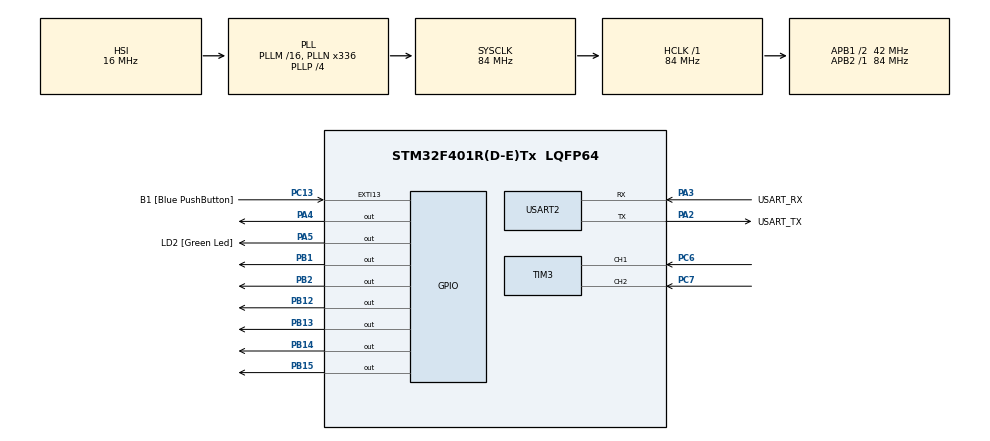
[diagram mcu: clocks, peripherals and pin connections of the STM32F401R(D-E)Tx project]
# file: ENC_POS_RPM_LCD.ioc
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Dma.Request0=USART2_TX
Dma.USART2_TX.0.Direction=DMA_MEMORY_TO_PERIPH
Dma.USART2_TX.0.FIFOMode=DMA_FIFOMODE_DISABLE
Dma.USART2_TX.0.Instance=DMA1_Stream6
Dma.USART2_TX.0.MemDataAlignment=DMA_MDATAALIGN_BYTE
Dma.USART2_TX.0.MemInc=DMA_MINC_ENABLE
Dma.USART2_TX.0.Mode=DMA_NORMAL
Dma.USART2_TX.0.PeriphDataAlignment=DMA_PDATAALIGN_BYTE
Dma.USART2_TX.0.PeriphInc=DMA_PINC_DISABLE
Dma.USART2_TX.0.Priority=DMA_PRIORITY_HIGH
Mcu.Family=STM32F4
Mcu.Name=STM32F401R(D-E)Tx
Mcu.Package=LQFP64
NVIC.DMA1_Stream6_IRQn=true\:0\:0\:false\:false\:true\:false\:true\:true
NVIC.PriorityGroup=NVIC_PRIORITYGROUP_4
NVIC.TIM2_IRQn=true\:0\:0\:false\:false\:true\:true\:true\:true
PA13.GPIO_Label=TMS
PA13.Mode=Trace_Asynchronous_SW
PA13.Signal=SYS_JTMS-SWDIO
PA14.GPIO_Label=TCK
PA14.Mode=Trace_Asynchronous_SW
PA14.Signal=SYS_JTCK-SWCLK
PA2.GPIO_Label=USART_TX
PA2.GPIO_Mode=GPIO_MODE_AF_PP
PA2.GPIO_PuPd=GPIO_NOPULL
PA2.GPIO_Speed=GPIO_SPEED_FREQ_LOW
PA2.Mode=Asynchronous
PA2.Signal=USART2_TX
PA3.GPIO_Label=USART_RX
PA3.GPIO_Mode=GPIO_MODE_AF_PP
PA3.GPIO_PuPd=GPIO_NOPULL
PA3.GPIO_Speed=GPIO_SPEED_FREQ_LOW
PA3.Mode=Asynchronous
PA3.Signal=USART2_RX
PA4.Signal=GPIO_Output
PA5.GPIO_Label=LD2 [Green Led]
PA5.GPIO_Mode=GPIO_MODE_OUTPUT_PP
PA5.GPIO_PuPd=GPIO_NOPULL
PA5.GPIO_Speed=GPIO_SPEED_FREQ_LOW
PA5.Signal=GPIO_Output
PB1.Signal=GPIO_Output
PB12.Signal=GPIO_Output
PB13.Signal=GPIO_Output
PB14.Signal=GPIO_Output
PB15.Signal=GPIO_Output
PB2.Signal=GPIO_Output
PB3.GPIO_Label=SWO
PB3.Mode=Trace_Asynchronous_SW
PB3.Signal=SYS_JTDO-SWO
PC13-ANTI_TAMP.GPIO_Label=B1 [Blue PushButton]
PC13-ANTI_TAMP.GPIO_ModeDefaultEXTI=GPIO_MODE_IT_FALLING
PC13-ANTI_TAMP.GPIO_PuPd=GPIO_NOPULL
PC13-ANTI_TAMP.Signal=GPXTI13
PC14-OSC32_IN.Mode=LSE-External-Oscillator
PC14-OSC32_IN.Signal=RCC_OSC32_IN
PC15-OSC32_OUT.Mode=LSE-External-Oscillator
PC15-OSC32_OUT.Signal=RCC_OSC32_OUT
PC6.Signal=S_TIM3_CH1
PC7.Signal=S_TIM3_CH2
PH0\ -\ OSC_IN.Mode=HSE-External-Clock-Source
PH0\ -\ OSC_IN.Signal=RCC_OSC_IN
PH1\ -\ OSC_OUT.Mode=HSE-External-Clock-Source
PH1\ -\ OSC_OUT.Signal=RCC_OSC_OUT
ProjectManager.HeapSize=0x200
ProjectManager.StackSize=0x400
ProjectManager.TargetToolchain=STM32CubeIDE
RCC.48MHZClocksFreq_Value=48000000
RCC.AHBFreq_Value=84000000
RCC.APB1CLKDivider=RCC_HCLK_DIV2
RCC.APB1Freq_Value=42000000
RCC.APB1TimFreq_Value=84000000
RCC.APB2Freq_Value=84000000
RCC.APB2TimFreq_Value=84000000
RCC.CortexFreq_Value=84000000
RCC.HCLKFreq_Value=84000000
RCC.HSE_VALUE=8000000
RCC.HSI_VALUE=16000000
RCC.PLLN=336
RCC.PLLP=RCC_PLLP_DIV4
RCC.PLLQ=7
RCC.SYSCLKFreq_VALUE=84000000
RCC.SYSCLKSource=RCC_SYSCLKSOURCE_PLLCLK
RCC.VCOOutputFreq_Value=336000000
SH.S_TIM3_CH1.0=TIM3_CH1,Encoder_Interface
SH.S_TIM3_CH2.0=TIM3_CH2,Encoder_Interface
TIM2.Period=8399
TIM2.Prescaler=9999
TIM3.ClockDivision=TIM_CLOCKDIVISION_DIV4
TIM3.IC1Filter=15
TIM3.IC1Polarity=TIM_ICPOLARITY_FALLING
USART2.VirtualMode=VM_ASYNC
VP_TIM2_VS_ClockSourceINT.Mode=Internal
board=NUCLEO-F401RE

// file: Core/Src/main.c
/* USER CODE BEGIN Header */
/**
  ******************************************************************************
  * @file           : main.c
  * @brief          : Main program body
  ******************************************************************************
  * @attention
  *
  * Copyright (c) 2026 STMicroelectronics.
  * All rights reserved.
  *
  * This software is licensed under terms that can be found in the LICENSE file
  * in the root directory of this software component.
  * If no LICENSE file comes with this software, it is provided AS-IS.
  *
  ******************************************************************************
  */
/* USER CODE END Header */
#include "main.h"

/* USER CODE BEGIN Includes */
#include "PMDB16_LCD.h"
#include "stdio.h"
#include "string.h"

/* USER CODE END Includes */

/* USER CODE BEGIN PD */
#define STEPS_PER_REVOLUTION 24
/* USER CODE END PD */

TIM_HandleTypeDef htim2;
TIM_HandleTypeDef htim3;

UART_HandleTypeDef huart2;
DMA_HandleTypeDef hdma_usart2_tx;

/* USER CODE BEGIN PV */

// UART
char tx_buffer[50];

// LCD
char line1[17];
char line2[17];

// ENCODER
float rpm;
static uint16_t value;
static uint16_t past_value=0;
static int32_t position=0;

volatile uint8_t data_ready=0;

/* USER CODE END PV */

void SystemClock_Config(void);
static void MX_GPIO_Init(void);
static void MX_DMA_Init(void);
static void MX_USART2_UART_Init(void);
static void MX_TIM2_Init(void);
static void MX_TIM3_Init(void);

/* USER CODE BEGIN 0 */
void HAL_TIM_PeriodElapsedCallback(TIM_HandleTypeDef *htim)
{
    if (htim->Instance == TIM2)
    {
    	value = __HAL_TIM_GET_COUNTER(&htim3); // Leggiamo il valore del Counter

    	int16_t delta = (int16_t) (value-past_value); // Calcoliamo di quanto ci siamo spostati

    	position+=delta; // La posizione accumula gli step

    	rpm = ((float)delta/STEPS_PER_REVOLUTION)*60.0f; // Revolutions Per Minute
    	// delta viene diviso per il numero di step in una rivoluzione, moltiplicato per 60s,
    	// moltiplicato per f=1Hz in questo caso

    	past_value=value; // Aggiorniamo

    	// Pronti a trasmettere
    	data_ready=1;

    }
}

/* USER CODE END 0 */

int main(void)
{

  /* MCU Configuration--------------------------------------------------------*/

  /* Reset of all peripherals, Initializes the Flash interface and the Systick. */
  HAL_Init();

  /* Configure the system clock */
  SystemClock_Config();

  /* Initialize all configured peripherals */
  MX_GPIO_Init();
  MX_DMA_Init();
  MX_USART2_UART_Init();
  MX_TIM2_Init();
  MX_TIM3_Init();
  /* USER CODE BEGIN 2 */
  HAL_TIM_Encoder_Start(&htim3, TIM_CHANNEL_ALL); // Inizializza Encoder
  HAL_TIM_Base_Start_IT(&htim2); // Interrupt 1Hz
  lcd_initialize(); // LCD
  lcd_backlight_ON();

  /* USER CODE END 2 */

  /* Infinite loop */
  while (1)
  {

    /* USER CODE BEGIN 3 */
	  if(data_ready){
		  data_ready=0;

		  //LCD
		  sprintf(line1, "Pos: %ld", position);
		  sprintf(line2, "RPM: %+.1f", rpm);
		  lcd_clear();
		  lcd_println(line1, 0);
		  lcd_println(line2, 1);

		  // UART
		  int len = sprintf(tx_buffer, "pos= %ld, rpm = %+.1f \r\n", position, rpm);
		  HAL_UART_Transmit_DMA(&huart2, (uint8_t*)tx_buffer, len);
	  }
  }
  /* USER CODE END 3 */
}

void SystemClock_Config(void)
{
  RCC_OscInitTypeDef RCC_OscInitStruct = {0};
  RCC_ClkInitTypeDef RCC_ClkInitStruct = {0};

  /** Configure the main internal regulator output voltage
  */
  __HAL_RCC_PWR_CLK_ENABLE();
  __HAL_PWR_VOLTAGESCALING_CONFIG(PWR_REGULATOR_VOLTAGE_SCALE2);

  /** Initializes the RCC Oscillators according to the specified parameters
  * in the RCC_OscInitTypeDef structure.
  */
  RCC_OscInitStruct.OscillatorType = RCC_OSCILLATORTYPE_HSI;
  RCC_OscInitStruct.HSIState = RCC_HSI_ON;
  RCC_OscInitStruct.HSICalibrationValue = RCC_HSICALIBRATION_DEFAULT;
  RCC_OscInitStruct.PLL.PLLState = RCC_PLL_ON;
  RCC_OscInitStruct.PLL.PLLSource = RCC_PLLSOURCE_HSI;
  RCC_OscInitStruct.PLL.PLLM = 16;
  RCC_OscInitStruct.PLL.PLLN = 336;
  RCC_OscInitStruct.PLL.PLLP = RCC_PLLP_DIV4;
  RCC_OscInitStruct.PLL.PLLQ = 7;
  if (HAL_RCC_OscConfig(&RCC_OscInitStruct) != HAL_OK)
  {
    Error_Handler();
  }

  /** Initializes the CPU, AHB and APB buses clocks
  */
  RCC_ClkInitStruct.ClockType = RCC_CLOCKTYPE_HCLK|RCC_CLOCKTYPE_SYSCLK
                              |RCC_CLOCKTYPE_PCLK1|RCC_CLOCKTYPE_PCLK2;
  RCC_ClkInitStruct.SYSCLKSource = RCC_SYSCLKSOURCE_PLLCLK;
  RCC_ClkInitStruct.AHBCLKDivider = RCC_SYSCLK_DIV1;
  RCC_ClkInitStruct.APB1CLKDivider = RCC_HCLK_DIV2;
  RCC_ClkInitStruct.APB2CLKDivider = RCC_HCLK_DIV1;

  if (HAL_RCC_ClockConfig(&RCC_ClkInitStruct, FLASH_LATENCY_2) != HAL_OK)
  {
    Error_Handler();
  }
}

static void MX_TIM2_Init(void)
{

  TIM_ClockConfigTypeDef sClockSourceConfig = {0};
  TIM_MasterConfigTypeDef sMasterConfig = {0};

  htim2.Instance = TIM2;
  htim2.Init.Prescaler = 9999;
  htim2.Init.CounterMode = TIM_COUNTERMODE_UP;
  htim2.Init.Period = 8399;
  htim2.Init.ClockDivision = TIM_CLOCKDIVISION_DIV1;
  htim2.Init.AutoReloadPreload = TIM_AUTORELOAD_PRELOAD_DISABLE;
  if (HAL_TIM_Base_Init(&htim2) != HAL_OK)
  {
    Error_Handler();
  }
  sClockSourceConfig.ClockSource = TIM_CLOCKSOURCE_INTERNAL;
  if (HAL_TIM_ConfigClockSource(&htim2, &sClockSourceConfig) != HAL_OK)
  {
    Error_Handler();
  }
  sMasterConfig.MasterOutputTrigger = TIM_TRGO_RESET;
  sMasterConfig.MasterSlaveMode = TIM_MASTERSLAVEMODE_DISABLE;
  if (HAL_TIMEx_MasterConfigSynchronization(&htim2, &sMasterConfig) != HAL_OK)
  {
    Error_Handler();
  }

}

static void MX_TIM3_Init(void)
{

  TIM_Encoder_InitTypeDef sConfig = {0};
  TIM_MasterConfigTypeDef sMasterConfig = {0};

  htim3.Instance = TIM3;
  htim3.Init.Prescaler = 0;
  htim3.Init.CounterMode = TIM_COUNTERMODE_UP;
  htim3.Init.Period = 65535;
  htim3.Init.ClockDivision = TIM_CLOCKDIVISION_DIV4;
  htim3.Init.AutoReloadPreload = TIM_AUTORELOAD_PRELOAD_DISABLE;
  sConfig.EncoderMode = TIM_ENCODERMODE_TI1;
  sConfig.IC1Polarity = TIM_ICPOLARITY_FALLING;
  sConfig.IC1Selection = TIM_ICSELECTION_DIRECTTI;
  sConfig.IC1Prescaler = TIM_ICPSC_DIV1;
  sConfig.IC1Filter = 15;
  sConfig.IC2Polarity = TIM_ICPOLARITY_RISING;
  sConfig.IC2Selection = TIM_ICSELECTION_DIRECTTI;
  sConfig.IC2Prescaler = TIM_ICPSC_DIV1;
  sConfig.IC2Filter = 0;
  if (HAL_TIM_Encoder_Init(&htim3, &sConfig) != HAL_OK)
  {
    Error_Handler();
  }
  sMasterConfig.MasterOutputTrigger = TIM_TRGO_RESET;
  sMasterConfig.MasterSlaveMode = TIM_MASTERSLAVEMODE_DISABLE;
  if (HAL_TIMEx_MasterConfigSynchronization(&htim3, &sMasterConfig) != HAL_OK)
  {
    Error_Handler();
  }

}

static void MX_USART2_UART_Init(void)
{

  huart2.Instance = USART2;
  huart2.Init.BaudRate = 115200;
  huart2.Init.WordLength = UART_WORDLENGTH_8B;
  huart2.Init.StopBits = UART_STOPBITS_1;
  huart2.Init.Parity = UART_PARITY_NONE;
  huart2.Init.Mode = UART_MODE_TX_RX;
  huart2.Init.HwFlowCtl = UART_HWCONTROL_NONE;
  huart2.Init.OverSampling = UART_OVERSAMPLING_16;
  if (HAL_UART_Init(&huart2) != HAL_OK)
  {
    Error_Handler();
  }

}

static void MX_DMA_Init(void)
{

  /* DMA controller clock enable */
  __HAL_RCC_DMA1_CLK_ENABLE();

  /* DMA interrupt init */
  /* DMA1_Stream6_IRQn interrupt configuration */
  HAL_NVIC_SetPriority(DMA1_Stream6_IRQn, 0, 0);
  HAL_NVIC_EnableIRQ(DMA1_Stream6_IRQn);

}

static void MX_GPIO_Init(void)
{
  GPIO_InitTypeDef GPIO_InitStruct = {0};

  /* GPIO Ports Clock Enable */
  __HAL_RCC_GPIOC_CLK_ENABLE();
  __HAL_RCC_GPIOH_CLK_ENABLE();
  __HAL_RCC_GPIOA_CLK_ENABLE();
  __HAL_RCC_GPIOB_CLK_ENABLE();

  /*Configure GPIO pin Output Level */
  HAL_GPIO_WritePin(GPIOA, GPIO_PIN_4|LD2_Pin, GPIO_PIN_RESET);

  /*Configure GPIO pin Output Level */
  HAL_GPIO_WritePin(GPIOB, GPIO_PIN_1|GPIO_PIN_2|GPIO_PIN_12|GPIO_PIN_13
                          |GPIO_PIN_14|GPIO_PIN_15, GPIO_PIN_RESET);

  /*Configure GPIO pin : B1_Pin */
  GPIO_InitStruct.Pin = B1_Pin;
  GPIO_InitStruct.Mode = GPIO_MODE_IT_FALLING;
  GPIO_InitStruct.Pull = GPIO_NOPULL;
  HAL_GPIO_Init(B1_GPIO_Port, &GPIO_InitStruct);

  /*Configure GPIO pins : PA4 LD2_Pin */
  GPIO_InitStruct.Pin = GPIO_PIN_4|LD2_Pin;
  GPIO_InitStruct.Mode = GPIO_MODE_OUTPUT_PP;
  GPIO_InitStruct.Pull = GPIO_NOPULL;
  GPIO_InitStruct.Speed = GPIO_SPEED_FREQ_LOW;
  HAL_GPIO_Init(GPIOA, &GPIO_InitStruct);

  /*Configure GPIO pins : PB1 PB2 PB12 PB13
                           PB14 PB15 */
  GPIO_InitStruct.Pin = GPIO_PIN_1|GPIO_PIN_2|GPIO_PIN_12|GPIO_PIN_13
                          |GPIO_PIN_14|GPIO_PIN_15;
  GPIO_InitStruct.Mode = GPIO_MODE_OUTPUT_PP;
  GPIO_InitStruct.Pull = GPIO_NOPULL;
  GPIO_InitStruct.Speed = GPIO_SPEED_FREQ_LOW;
  HAL_GPIO_Init(GPIOB, &GPIO_InitStruct);

}

void Error_Handler(void)
{
  __disable_irq();
  while (1)
  {
  }
}
